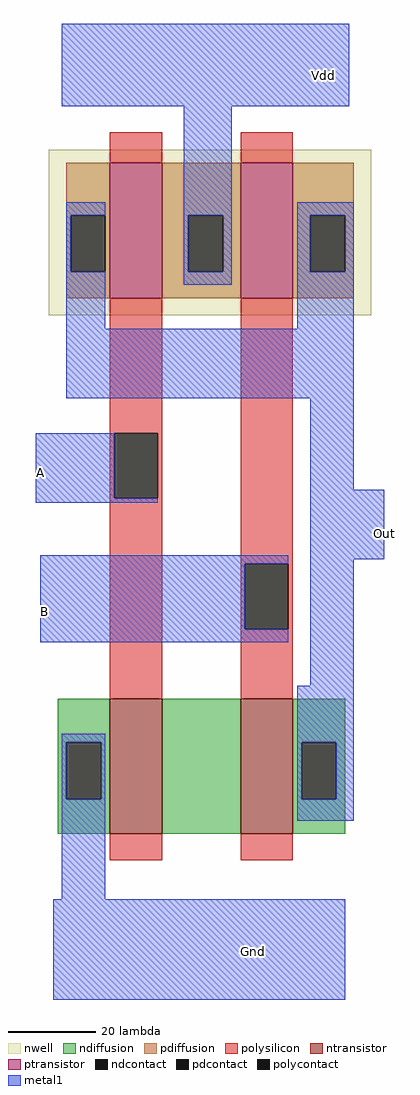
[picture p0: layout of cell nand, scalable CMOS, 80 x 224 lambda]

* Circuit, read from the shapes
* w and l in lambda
.subckt nand A B Gnd Out Vdd
M1 n1 A Gnd VSUBS nfet w=31 l=12
M2 Out B n1 VSUBS nfet w=31 l=12
M3 Vdd A Out n2 pfet w=31 l=12
M4 Out B Vdd n2 pfet w=31 l=12
.ends

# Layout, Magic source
magic
tech scmos
<< nwell >>
rect 22 -29 96 9
<< polysilicon >>
rect 36 6 48 13
rect 66 6 78 13
rect 36 -56 48 -25
rect 36 -71 37 -56
rect 47 -71 48 -56
rect 36 -117 48 -71
rect 66 -86 78 -25
rect 66 -101 67 -86
rect 77 -101 78 -86
rect 66 -117 78 -101
rect 36 -154 48 -148
rect 66 -154 78 -148
<< ndiffusion >>
rect 24 -127 36 -117
rect 24 -140 26 -127
rect 34 -140 36 -127
rect 24 -148 36 -140
rect 48 -148 66 -117
rect 78 -127 90 -117
rect 78 -140 80 -127
rect 88 -140 90 -127
rect 78 -148 90 -140
<< pdiffusion >>
rect 26 -6 36 6
rect 26 -19 27 -6
rect 35 -19 36 -6
rect 26 -25 36 -19
rect 48 -6 66 6
rect 48 -19 54 -6
rect 62 -19 66 -6
rect 48 -25 66 -19
rect 78 -6 92 6
rect 78 -19 82 -6
rect 90 -19 92 -6
rect 78 -25 92 -19
<< metal1 >>
rect 25 19 91 38
rect 26 -6 35 -3
rect 26 -19 27 -6
rect 26 -32 35 -19
rect 53 -6 64 19
rect 53 -19 54 -6
rect 62 -19 64 -6
rect 53 -22 64 -19
rect 79 -6 92 -3
rect 79 -19 82 -6
rect 90 -19 92 -6
rect 79 -32 92 -19
rect 26 -48 92 -32
rect 19 -71 37 -56
rect 19 -72 47 -71
rect 82 -69 92 -48
rect 20 -86 77 -84
rect 20 -101 67 -86
rect 20 -104 77 -101
rect 82 -85 99 -69
rect 82 -114 92 -85
rect 25 -127 35 -125
rect 25 -140 26 -127
rect 34 -140 35 -127
rect 25 -163 35 -140
rect 79 -127 92 -114
rect 79 -140 80 -127
rect 88 -140 92 -127
rect 79 -145 92 -140
rect 23 -186 90 -163
<< ntransistor >>
rect 36 -148 48 -117
rect 66 -148 78 -117
<< ptransistor >>
rect 36 -25 48 6
rect 66 -25 78 6
<< polycontact >>
rect 37 -71 47 -56
rect 67 -101 77 -86
<< ndcontact >>
rect 26 -140 34 -127
rect 80 -140 88 -127
<< pdcontact >>
rect 27 -19 35 -6
rect 54 -19 62 -6
rect 82 -19 90 -6
<< labels >>
rlabel metal1 99 -79 99 -79 7 Out
rlabel metal1 20 -65 20 -65 3 A
rlabel metal1 21 -97 21 -97 3 B
rlabel metal1 85 26 85 26 1 Vdd
rlabel metal1 69 -175 69 -175 1 Gnd
<< end >>
